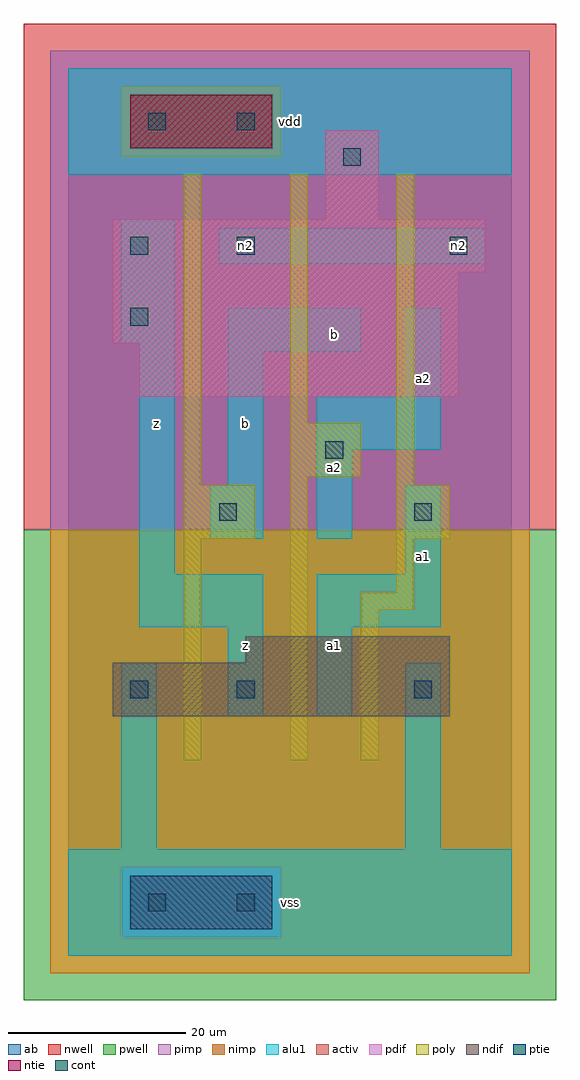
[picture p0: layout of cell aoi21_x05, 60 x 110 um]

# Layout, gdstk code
import gdstk
lib = gdstk.Library(unit=1e-6, precision=1e-09)
def R(c, l, rs):  # rectangles x0, y0, x1, y1
    for r in rs: c.add(gdstk.rectangle(r[:2], r[2:], *l))
ndif = (3, 0)
pdif = (4, 0)
ntie = (5, 0)
ptie = (6, 0)
cont = (25, 0)
pwell = (41, 0)
nwell = (42, 0)
activ = (43, 0)
pimp = (44, 0)
nimp = (45, 0)
poly = (46, 0)
alu1 = (49, 0)
ab = (63, 0)

aoi21_x05 = lib.new_cell('aoi21_x05')
R(aoi21_x05, ndif, [(5,27,43,33), (20,33,43,36)])
R(aoi21_x05, pdif, [(8,63,44,69), (5,69,44,77), (5,77,47,83), (29,83,35,93)])
R(aoi21_x05, ntie, [(7,91,23,97)])
R(aoi21_x05, ptie, [(7,3,23,9)])
R(aoi21_x05, cont, [(9,5,11,7), (19,5,21,7), (7,29,9,31), (19,29,21,31), (39,29,41,31), (17,49,19,51), (39,49,41,51), (29,56,31,58), (7,71,9,73), (7,79,9,81), (19,79,21,81), (43,79,45,81), (31,89,33,91), (9,93,11,95), (19,93,21,95)])
R(aoi21_x05, pwell, [(-5,-5,55,48)])
R(aoi21_x05, nwell, [(-5,48,55,105)])
R(aoi21_x05, activ, [(7,3,23,9), (5,27,43,33), (20,33,43,36), (8,63,44,69), (5,69,44,77), (5,77,47,83), (29,83,35,93), (7,91,23,97)])
R(aoi21_x05, pimp, [(6,2,24,10), (-2,48,52,90), (-2,90,6,98), (24,90,52,98), (-2,98,52,102)])
R(aoi21_x05, nimp, [(-2,-2,52,2), (-2,2,6,10), (24,2,52,10), (-2,10,52,48), (6,90,24,98)])
R(aoi21_x05, poly, [(13,22,15,47), (25,22,27,54), (33,22,35,39), (33,39,39,41), (37,41,39,47), (13,47,21,53), (37,47,43,53), (13,53,15,88), (37,53,39,88), (25,54,33,60), (25,60,27,88)])
R(aoi21_x05, alu1, [(0,0,50,12), (6,12,10,33), (38,12,42,33), (18,27,22,37), (28,27,32,37), (8,37,22,43), (28,37,42,43), (8,43,12,69), (38,43,42,53), (16,47,22,53), (28,47,32,57), (18,53,22,68), (28,57,42,63), (38,63,42,73), (18,68,33,73), (6,69,12,83), (17,78,47,82), (0,88,50,100)])
R(aoi21_x05, ab, [(0,0,50,100)])
aoi21_x05.add(gdstk.Label('n2', (20,80), layer=49, texttype=0))
aoi21_x05.add(gdstk.Label('n2', (44,80), layer=49, texttype=0))
aoi21_x05.add(gdstk.Label('z', (20,35), layer=49, texttype=0))
aoi21_x05.add(gdstk.Label('z', (10,60), layer=49, texttype=0))
aoi21_x05.add(gdstk.Label('b', (20,60), layer=49, texttype=0))
aoi21_x05.add(gdstk.Label('vss', (25,6), layer=49, texttype=0))
aoi21_x05.add(gdstk.Label('a1', (30,35), layer=49, texttype=0))
aoi21_x05.add(gdstk.Label('b', (30,70), layer=49, texttype=0))
aoi21_x05.add(gdstk.Label('a2', (30,55), layer=49, texttype=0))
aoi21_x05.add(gdstk.Label('vdd', (25,94), layer=49, texttype=0))
aoi21_x05.add(gdstk.Label('a1', (40,45), layer=49, texttype=0))
aoi21_x05.add(gdstk.Label('a2', (40,65), layer=49, texttype=0))

lib.write_gds('aoi21_x05.gds')
